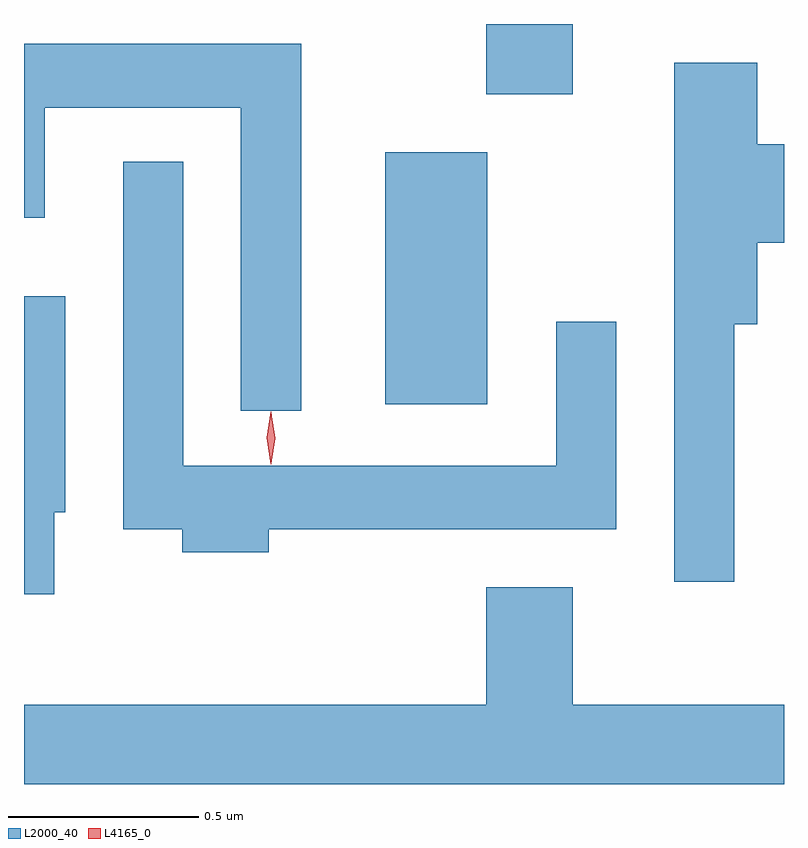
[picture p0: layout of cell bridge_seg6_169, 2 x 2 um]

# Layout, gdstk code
import gdstk
lib = gdstk.Library(unit=1e-6, precision=1e-09)
def R(c, l, rs):  # rectangles x0, y0, x1, y1
    for r in rs: c.add(gdstk.rectangle(r[:2], r[2:], *l))
def P(c, l, *ps):  # polygons
    for p in ps: c.add(gdstk.Polygon(p, *l))
L2000_40 = (2000, 40)
L4165_0 = (4165, 0)

bridge_seg6_169 = lib.new_cell('bridge_seg6_169')
R(bridge_seg6_169, L2000_40, [(1082.536,1584.396,1082.804,1585.059), (1082.801,1585.211,1083.029,1585.396)])
P(bridge_seg6_169, L2000_40, [(1082.314,1585.344),(1081.585,1585.344),(1081.585,1584.886),(1081.639,1584.886),(1081.639,1585.176),(1082.156,1585.176),(1082.156,1584.378),(1082.314,1584.378)],
  [(1083.454,1584.606),(1083.514,1584.606),(1083.514,1584.821),(1083.585,1584.821),(1083.585,1585.079),(1083.514,1585.079),(1083.514,1585.294),(1083.296,1585.294),(1083.296,1583.928),(1083.454,1583.928)],
  [(1082.229,1584.066),(1083.144,1584.066),(1083.144,1584.613),(1082.986,1584.613),(1082.986,1584.234),(1082.004,1584.234),(1082.004,1585.033),(1081.846,1585.033),(1081.846,1584.066),(1082.001,1584.066),(1082.001,1584.006),(1082.229,1584.006)],
  [(1081.664,1584.111),(1081.694,1584.111),(1081.694,1584.679),(1081.585,1584.679),(1081.585,1583.896),(1081.664,1583.896)],
  [(1083.585,1583.604),(1083.029,1583.604),(1083.029,1583.914),(1082.801,1583.914),(1082.801,1583.604),(1081.585,1583.604),(1081.585,1583.396),(1083.585,1583.396)])
P(bridge_seg6_169, L4165_0, [(1082.234,1584.237),(1082.234,1584.237),(1082.224,1584.307),(1082.234,1584.376),(1082.234,1584.376),(1082.235,1584.376),(1082.244,1584.307),(1082.235,1584.237)],
  [(1082.236,1584.239),(1082.235,1584.24),(1082.226,1584.306),(1082.235,1584.372),(1082.236,1584.373),(1082.236,1584.372),(1082.246,1584.306),(1082.236,1584.24)])

lib.write_gds('bridge_seg6_169.gds')
